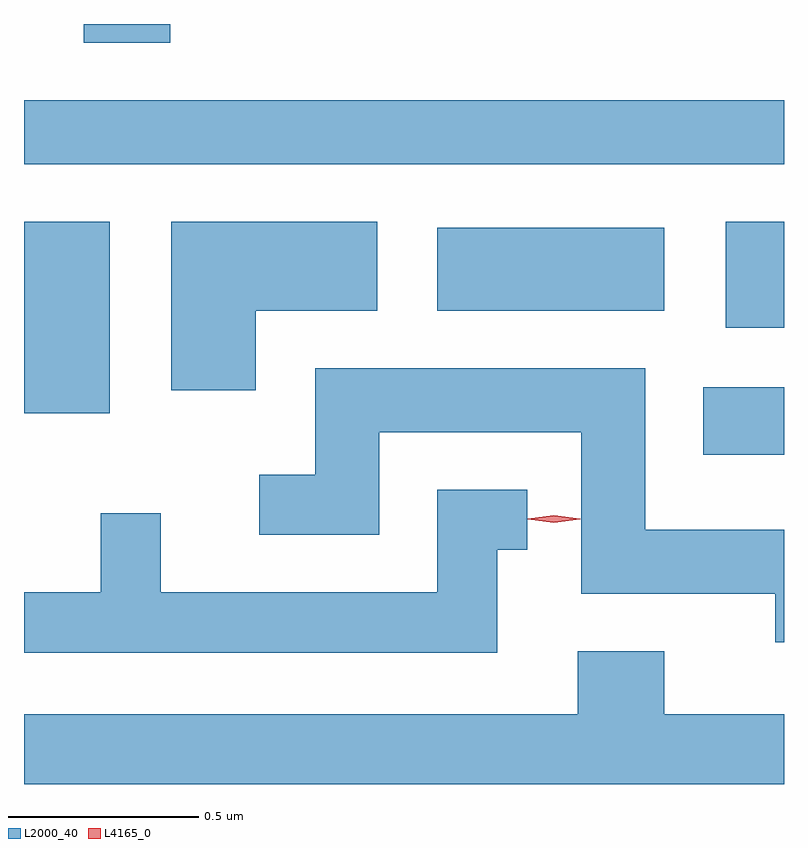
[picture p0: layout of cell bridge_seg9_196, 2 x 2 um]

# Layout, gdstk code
import gdstk
lib = gdstk.Library(unit=1e-6, precision=1e-09)
def R(c, l, rs):  # rectangles x0, y0, x1, y1
    for r in rs: c.add(gdstk.rectangle(r[:2], r[2:], *l))
def P(c, l, *ps):  # polygons
    for p in ps: c.add(gdstk.Polygon(p, *l))
L2000_40 = (2000, 40)
L4165_0 = (4165, 0)

bridge_seg9_196 = lib.new_cell('bridge_seg9_196')
R(bridge_seg9_196, L2000_40, [(1101.791,2066.026,1102.004,2066.204), (1100.004,2066.136,1100.229,2066.639), (1101.851,2066.361,1102.004,2066.639), (1101.091,2066.406,1101.689,2066.624), (1100.004,2066.791,1102.004,2066.959), (1100.161,2067.111,1100.389,2067.16)])
P(bridge_seg9_196, L2000_40, [(1100.614,2066.406),(1100.934,2066.406),(1100.934,2066.639),(1100.391,2066.639),(1100.391,2066.196),(1100.614,2066.196)],
  [(1102.004,2065.829),(1101.639,2065.829),(1101.639,2066.254),(1100.771,2066.254),(1100.771,2065.974),(1100.623,2065.974),(1100.623,2065.816),(1100.939,2065.816),(1100.939,2066.086),(1101.471,2066.086),(1101.471,2065.661),(1101.981,2065.661),(1101.981,2065.533),(1102.004,2065.533)],
  [(1101.249,2065.776),(1101.328,2065.776),(1101.328,2065.934),(1101.091,2065.934),(1101.091,2065.664),(1100.364,2065.664),(1100.364,2065.873),(1100.206,2065.873),(1100.206,2065.664),(1100.004,2065.664),(1100.004,2065.506),(1101.249,2065.506)],
  [(1102.004,2065.344),(1101.689,2065.344),(1101.689,2065.509),(1101.461,2065.509),(1101.461,2065.344),(1100.004,2065.344),(1100.004,2065.16),(1102.004,2065.16)])
P(bridge_seg9_196, L4165_0, [(1101.398,2065.848),(1101.329,2065.857),(1101.329,2065.857),(1101.329,2065.858),(1101.398,2065.867),(1101.468,2065.858),(1101.468,2065.858),(1101.468,2065.857)])

lib.write_gds('bridge_seg9_196.gds')
